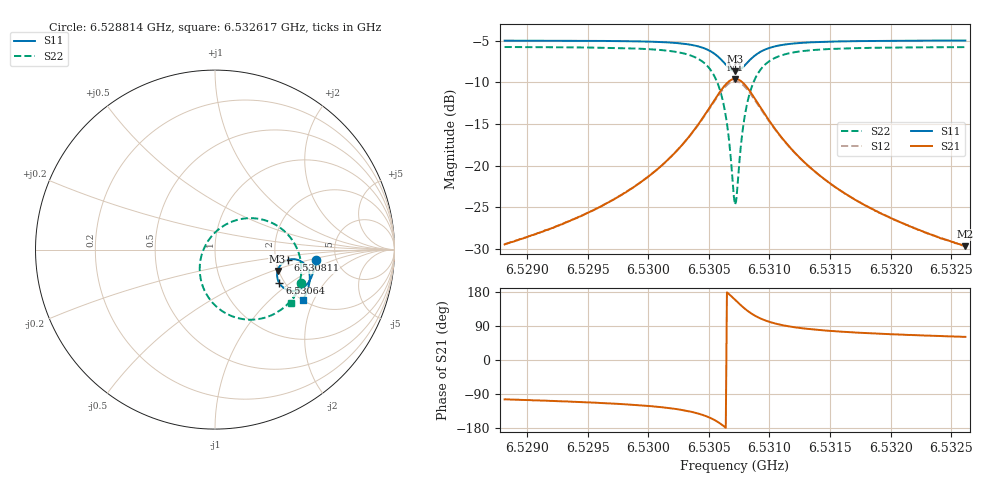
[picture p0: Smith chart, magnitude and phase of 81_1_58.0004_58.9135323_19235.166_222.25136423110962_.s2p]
#  HZ  S  RI  R  50.00
! Rohde & Schwarz Vector Network Analyzer
! Rohde-Schwarz,ZNB20-2Port,1311601062101988,3.16
! Created: UTC 3/21/2024, 12:53:53 AM
! freq[Hz]  re:S11  im:S11  re:S21  im:S21  re:S12  im:S12  re:S22  im:S22
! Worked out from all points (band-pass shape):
!   401 points, 6.528814 GHz to 6.532617 GHz, reference 50 ohm
!   highest |S21| = -9.57 dB at 6.530716 GHz (marker M1); lowest = -29.7 dB at 6.532617 GHz (marker M2)
!   |S21| within 3 dB of the highest: 6.530526 GHz to 6.530907 GHz (380.9 kHz wide, 0.00583 % of centre)
!   lowest |S11| = -8.7 dB at 6.530716 GHz (marker M3), VSWR 2.17, Z = 98.7 - j27.1 ohm
!   |S11| at or under -10 dB: nowhere
!   |S22| runs from -24.7 to -5.7 dB; largest |S21 - S12| = 0.014
!   S11 on the Smith chart (normalised r, x): 6.528814 GHz: 3.48, -0.58; 6.53064 GHz: 1.87, -0.84; 6.530811 GHz: 2.34, -0.32; 6.532617 GHz: 2.03, -1.66
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6.5288142e9  0.5607 -0.0565  -0.00814 -0.0326  -0.00885 -0.0325  0.4811 -0.1863
6.5294512e9  0.5513 -0.111  -0.018 -0.0467  -0.0191 -0.0462  0.4488 -0.2484
6.5297935e9  0.5408 -0.1444  -0.0303 -0.0606  -0.0319 -0.0599  0.4163 -0.2911
6.5300882e9  0.5238 -0.1785  -0.054 -0.0804  -0.0564 -0.079  0.3625 -0.3387
6.5303069e9  0.496 -0.2089  -0.0967 -0.1019  -0.0998 -0.0985  0.2761 -0.3796
6.5304781e9  0.4459 -0.2297  -0.1766 -0.1089  -0.1791 -0.1013  0.1294 -0.3822
6.5305731e9  0.3961 -0.2212  -0.2543 -0.0761  -0.2526 -0.0649  0.00112 -0.3112
6.5306112e9  0.3736 -0.2057  -0.2873 -0.0424  -0.2826 -0.0308  -0.0482 -0.2478
6.5306397e9  0.3589 -0.1877  -0.3077 -0.00686  -0.3002 0.00422  -0.0748 -0.184
6.5306682e9  0.3489 -0.1641  -0.3197 0.0372  -0.3093 0.0464  -0.0854 -0.109
6.5306968e9  0.3459 -0.137  -0.3188 0.0862  -0.3066 0.0924  -0.0743 -0.0288
6.5307158e9  0.3489 -0.1185  -0.3102 0.1186  -0.2975 0.1227  -0.0537 0.0225
6.5307348e9  0.3556 -0.1011  -0.2953 0.149  -0.2828 0.1507  -0.0235 0.0691
6.5307728e9  0.3782 -0.073  -0.2511 0.1963  -0.2406 0.1943  0.0576 0.1383
6.5308108e9  0.4072 -0.0573  -0.1988 0.2222  -0.1909 0.2183  0.1487 0.171
6.5308774e9  0.4539 -0.0553  -0.1171 0.2254  -0.1133 0.2217  0.2856 0.1612
6.5309725e9  0.4953 -0.0771  -0.0466 0.1928  -0.0449 0.1908  0.4001 0.0898
6.5311151e9  0.5204 -0.114  -0.00356 0.1432  -0.00238 0.1423  0.4637 -0.0111
6.5313528e9  0.5282 -0.1582  0.0151 0.0938  0.0163 0.0935  0.481 -0.1142
6.5316285e9  0.5241 -0.1934  0.0185 0.0651  0.0196 0.0648  0.4729 -0.1807
6.5319898e9  0.5139 -0.2289  0.018 0.0453  0.0189 0.0452  0.455 -0.2346
6.5326174e9  0.4918 -0.2786  0.0159 0.0287  0.0165 0.0284  0.4225 -0.2951
